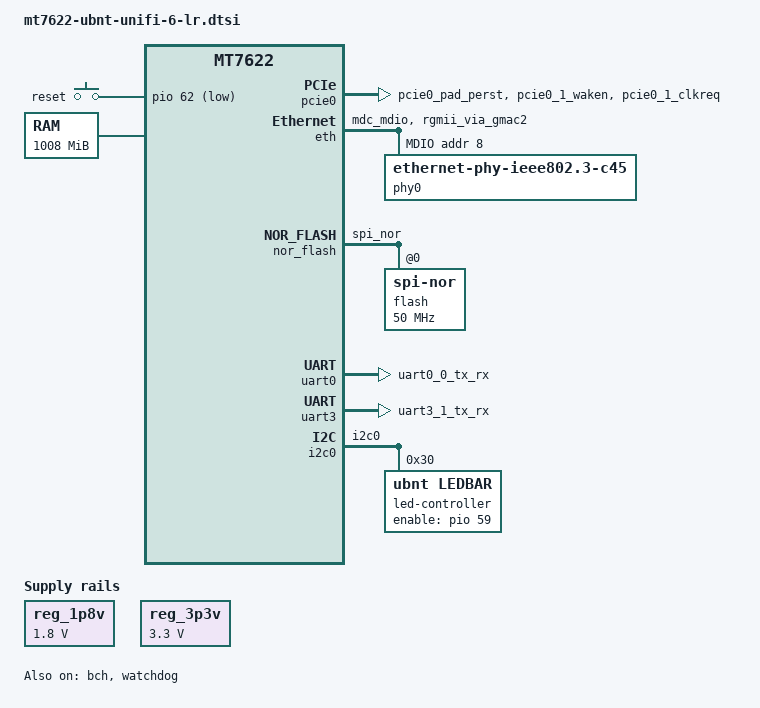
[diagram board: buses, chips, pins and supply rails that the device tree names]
// SPDX-License-Identifier: GPL-2.0-or-later OR MIT

/dts-v1/;
#include <dt-bindings/input/input.h>
#include <dt-bindings/gpio/gpio.h>
#include <dt-bindings/leds/common.h>

#include "mt7622.dtsi"
#include "mt6380.dtsi"

/ {
	aliases {
		led-boot = &led_blue;
		led-failsafe = &led_blue;
		led-running = &led_blue;
		led-upgrade = &led_blue;
		label-mac-device = &gmac0;
		serial0 = &uart0;
	};

	chosen {
		stdout-path = "serial0:115200n8";
		bootargs = "earlycon=uart8250,mmio32,0x11002000 swiotlb=512 console=ttyS0,115200n8";
	};

	cpus {
		cpu@0 {
			proc-supply = <&mt6380_vcpu_reg>;
			sram-supply = <&mt6380_vm_reg>;
		};

		cpu@1 {
			proc-supply = <&mt6380_vcpu_reg>;
			sram-supply = <&mt6380_vm_reg>;
		};
	};

	gpio-keys {
		compatible = "gpio-keys";

		reset {
			label = "reset";
			linux,code = <KEY_RESTART>;
			gpios = <&pio 62 GPIO_ACTIVE_LOW>;
		};
	};

	memory {
		reg = <0 0x40000000 0 0x3f000000>;
	};

	reg_1p8v: regulator-1p8v {
		compatible = "regulator-fixed";
		regulator-name = "fixed-1.8V";
		regulator-min-microvolt = <1800000>;
		regulator-max-microvolt = <1800000>;
		regulator-always-on;
	};

	reg_3p3v: regulator-3p3v {
		compatible = "regulator-fixed";
		regulator-name = "fixed-3.3V";
		regulator-min-microvolt = <3300000>;
		regulator-max-microvolt = <3300000>;
		regulator-boot-on;
		regulator-always-on;
	};
};

&pcie0 {
	pinctrl-names = "default";
	pinctrl-0 = <&pcie0_pins>;
	status = "okay";
};


&pio {
	eth_pins: eth-pins {
		mux {
			function = "eth";
			groups = "mdc_mdio", "rgmii_via_gmac2";
		};
	};

	pcie0_pins: pcie0-pins {
		mux {
			function = "pcie";
			groups = "pcie0_pad_perst",
				 "pcie0_1_waken",
				 "pcie0_1_clkreq";
		};
	};

	pcie1_pins: pcie1-pins {
		mux {
			function = "pcie";
			groups = "pcie1_pad_perst",
				 "pcie1_0_waken",
				 "pcie1_0_clkreq";
		};
	};

	pmic_bus_pins: pmic-bus-pins {
		mux {
			function = "pmic";
			groups = "pmic_bus";
		};
	};

	spi_nor_pins: spi-nor-pins {
		mux {
			function = "flash";
			groups = "spi_nor";
		};
	};

	uart0_pins: uart0-pins {
		mux {
			function = "uart";
			groups = "uart0_0_tx_rx" ;
		};
	};

	uart3_pins: uart3-pins {
		mux {
			function = "uart";
			groups = "uart3_1_tx_rx" ;
		};
	};

	i2c0_pins: i2c0-pins {
		mux {
			function = "i2c";
			groups =  "i2c0";
		};
	};

	watchdog_pins: watchdog-pins {
		mux {
			function = "watchdog";
			groups = "watchdog";
		};
	};
};

&bch {
	status = "okay";
};

&btif {
	status = "disabled";
};

&eth {
	status = "okay";
	pinctrl-names = "default";
	pinctrl-0 = <&eth_pins>;

	gmac0: mac@0 {
		compatible = "mediatek,eth-mac";
		reg = <0>;

		phy-mode = "2500base-x";
		phy-handle = <&phy0>;
		phy-connection-type = "2500base-x";
	};

	mdio: mdio-bus {
		#address-cells = <1>;
		#size-cells = <0>;

		phy0: ethernet-phy@8 {
			compatible = "ethernet-phy-ieee802.3-c45";
			reg = <0x8>;
		};
	};
};

&pwrap {
	pinctrl-names = "default";
	pinctrl-0 = <&pmic_bus_pins>;

	status = "okay";
};

&nor_flash {
	pinctrl-names = "default";
	pinctrl-0 = <&spi_nor_pins>;

	status = "okay";

	flash@0 {
		compatible = "jedec,spi-nor";
		reg = <0>;
		spi-max-frequency = <50000000>;

		nor_partitions: partitions {
			compatible = "fixed-partitions";
			#address-cells = <1>;
			#size-cells = <1>;

		};
	};
};

&uart0 {
	pinctrl-names = "default";
	pinctrl-0 = <&uart0_pins>;
	status = "okay";
};

&uart3 {
	pinctrl-names = "default";
	pinctrl-0 = <&uart3_pins>;
	status = "okay";

	/* MT7915 Bluetooth */
};

&i2c0 {
	pinctrl-names = "default";
	pinctrl-0 = <&i2c0_pins>;
	status = "okay";

	led-controller@30 {
		compatible = "ubnt,ledbar";
		reg = <0x30>;

		enable-gpio = <&pio 59 0>;

		red {
			label = "red";
		};

		green {
			label = "green";
		};

		led_blue: blue {
			label = "blue";
		};
	};
};

&watchdog {
	pinctrl-names = "default";
	pinctrl-0 = <&watchdog_pins>;
	status = "okay";
};
